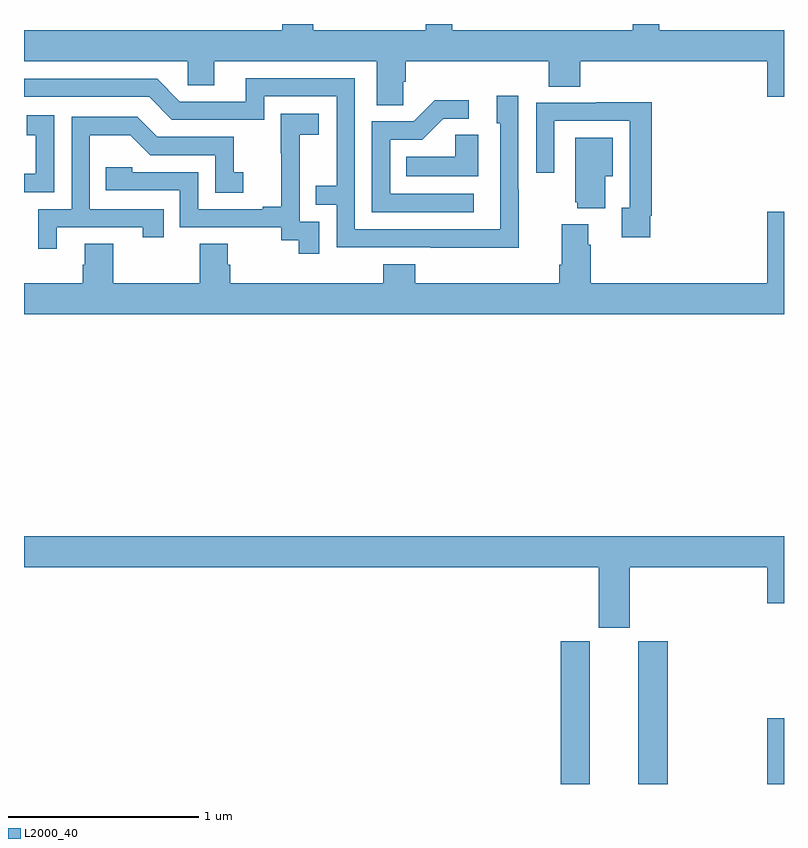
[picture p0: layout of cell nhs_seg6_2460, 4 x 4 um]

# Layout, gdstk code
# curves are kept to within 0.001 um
import gdstk
lib = gdstk.Library(unit=1e-6, precision=1e-09)
def R(c, l, rs):  # rectangles x0, y0, x1, y1
    for r in rs: c.add(gdstk.rectangle(r[:2], r[2:], *l))
def P(c, l, *ps):  # polygons
    for p in ps: c.add(gdstk.Polygon(p, *l))
L2000_40 = (2000, 40)

nhs_seg6_2460 = lib.new_cell('nhs_seg6_2460')
R(nhs_seg6_2460, L2000_40, [(259.826,975.5,259.978,976.251), (260.234,975.5,260.387,976.251), (260.912,975.5,261,975.847)])
P(nhs_seg6_2460, L2000_40, [(258.996,979.195),(259.01,979.195),(259.01,979.304),(259.763,979.304),(259.763,979.171),(259.928,979.171),(259.928,979.304),(260.912,979.304),(260.912,979.116),(261,979.116),(261,979.468),(260.344,979.468),(260.344,979.5),(260.205,979.5),(260.205,979.468),(259.255,979.468),(259.255,979.5),(259.115,979.5),(259.115,979.468),(258.523,979.468),(258.523,979.5),(258.359,979.5),(258.359,979.468),(257,979.468),(257,979.304),(257.862,979.304),(257.862,979.177),(258.001,979.177),(258.001,979.304),(258.857,979.304),(258.857,979.072),(258.996,979.072)],
  [(259.605,978.629),(259.602,978.629),(259.602,979.123),(259.487,979.123),(259.487,978.978),(259.506,978.978),(259.506,978.42),(258.741,978.42),(258.741,979.215),(258.167,979.215),(258.167,979.092),(257.82,979.092),(257.7,979.212),(257,979.212),(257,979.116),(257.658,979.116),(257.778,978.996),(258.264,978.996),(258.264,979.119),(258.645,979.119),(258.645,978.65),(258.535,978.65),(258.535,978.549),(258.645,978.549),(258.645,978.324),(259.605,978.323)],
  [(259.366,978.606),(258.927,978.606),(258.927,978.891),(259.096,978.891),(259.207,979.002),(259.342,979.002),(259.342,979.1),(259.163,979.1),(259.05,978.987),(258.831,978.987),(258.831,978.51),(259.366,978.51)],
  [(260.296,978.49),(260.303,978.49),(260.303,979.088),(260.011,979.088),(260.011,979.086),(259.695,979.086),(259.695,978.717),(259.791,978.717),(259.791,978.99),(260.187,978.99),(260.187,978.534),(260.147,978.534),(260.147,978.378),(260.296,978.378)],
  [(258.555,978.459),(258.45,978.459),(258.45,978.689),(258.452,978.689),(258.452,978.917),(258.55,978.917),(258.55,979.027),(258.352,979.027),(258.352,978.821),(258.353,978.821),(258.353,978.538),(258.257,978.538),(258.257,978.525),(257.916,978.525),(257.916,978.72),(257.571,978.72),(257.571,978.747),(257.431,978.747),(257.431,978.624),(257.82,978.624),(257.82,978.429),(258.354,978.429),(258.354,978.361),(258.447,978.361),(258.447,978.291),(258.555,978.291)],
  [(257.16,979.021),(257.014,979.021),(257.014,978.915),(257.063,978.915),(257.063,978.711),(257,978.711),(257,978.615),(257.16,978.615)],
  [(257.173,978.429),(257.624,978.429),(257.624,978.378),(257.735,978.378),(257.735,978.525),(257.346,978.525),(257.346,978.914),(257.56,978.914),(257.664,978.81),(258.006,978.81),(258.006,978.612),(258.154,978.612),(258.154,978.721),(258.105,978.721),(258.105,978.906),(257.701,978.906),(257.596,979.011),(257.25,979.011),(257.25,978.525),(257.076,978.525),(257.076,978.318),(257.173,978.318)],
  [(259.39,978.917),(259.269,978.917),(259.269,978.802),(259.012,978.802),(259.012,978.698),(259.39,978.698)],
  [(260.059,978.698),(260.098,978.698),(260.098,978.901),(259.901,978.901),(259.901,978.561),(259.913,978.561),(259.913,978.53),(260.059,978.53)],
  [(261,978.511),(260.912,978.511),(260.912,978.136),(259.982,978.136),(259.982,978.338),(259.969,978.338),(259.969,978.445),(259.829,978.445),(259.829,978.232),(259.817,978.232),(259.817,978.136),(259.058,978.136),(259.058,978.235),(258.892,978.235),(258.892,978.136),(258.086,978.136),(258.086,978.234),(258.073,978.234),(258.073,978.344),(257.926,978.344),(257.926,978.136),(257.469,978.136),(257.469,978.344),(257.321,978.344),(257.321,978.234),(257.309,978.234),(257.309,978.136),(257,978.136),(257,977.972),(261,977.972)],
  [(260.188,976.64),(260.912,976.64),(260.912,976.452),(261,976.452),(261,976.804),(257,976.804),(257,976.64),(260.024,976.64),(260.024,976.323),(260.188,976.323)])

lib.write_gds('nhs_seg6_2460.gds')
